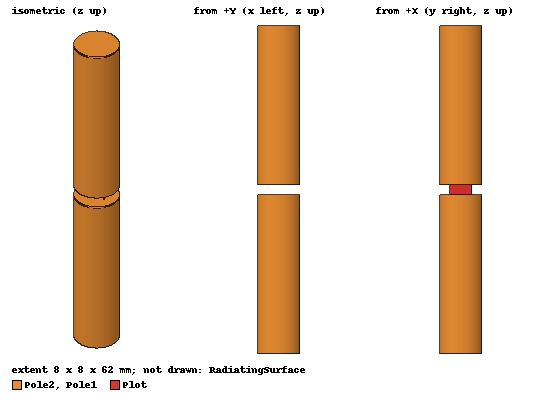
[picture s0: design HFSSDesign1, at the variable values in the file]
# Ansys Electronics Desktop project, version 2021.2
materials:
  vacuum: permittivity=1
  copper: permeability=0.999991 conductivity=58000000

design HFSSDesign1 (HFSS, DrivenModal, model units mm)
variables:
  R_antenna = 4mm
  L_antenna = 60mm
  Gap = 2mm
  R_antennaa = 6mm
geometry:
  Pole1 [copper] = cylinder(axis=Z, base_centre=(0mm, 0mm, Gap/2), radius=R_antenna, height=L_antenna/2)
  Pole2 [copper] = Pole1.duplicate_around_axis(axis=Y, angle=180deg, total=2)
  Plot = rectangle(corner=(0mm, 2mm, -1mm), y_size=-4mm, z_size=2mm)
  RadiatingSurface [vacuum] = region(absolute_offset=40mm on all sides)
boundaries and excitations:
  Open1: Radiation Objects=RadiatingSurface
  1: Lumped Port Objects=Plot Modes{Mode1{IntLine{middle of Plot.edge(z at corner) -> middle of Plot.edge(z opposite corner)} CharImp=Zpi RenormImp=50ohm}} Impedance=50ohm
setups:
  Setup1: HfssDriven MultipleAdaptiveFreqsSetup{Low=1GHz High=10GHz} MaxDeltaS=0.02 MaximumPasses=6 MinimumPasses=1 MinimumConvergedPasses=1 PercentRefinement=30 BasisOrder=1 PortAccuracy=2
    sweep Sweep: 1GHz to 10GHz, 401 points; Type=Interpolating InterpTolerance=0.5 InterpMaxSolns=250 InterpUsePortImped=false PassivityErrorTolerance=0.0001
    sweep Sweep1: 1GHz to 10GHz, 401 points; Type=Interpolating InterpTolerance=0.5 InterpMaxSolns=250 InterpUsePortImped=false PassivityErrorTolerance=0.0001
  Setup_4mm: HfssDriven Frequency=2.4GHz MaxDeltaS=0.02 MaximumPasses=6 MinimumPasses=1 MinimumConvergedPasses=1 PercentRefinement=30 BasisOrder=1 PortAccuracy=2
    sweep Sweep: 1.2GHz to 3.6GHz, 401 points; Type=Interpolating InterpTolerance=0.5 InterpMaxSolns=250 InterpUsePortImped=false PassivityErrorTolerance=0.0001
  Setup_6mm: HfssDriven Frequency=2.4GHz MaxDeltaS=0.02 MaximumPasses=6 MinimumPasses=1 MinimumConvergedPasses=1 PercentRefinement=30 BasisOrder=1 PortAccuracy=2
    sweep Sweep: 1.2GHz to 3.6GHz, 401 points; Type=Interpolating InterpTolerance=0.5 InterpMaxSolns=250 InterpUsePortImped=false PassivityErrorTolerance=0.0001
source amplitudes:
  1:1: 1W 0deg
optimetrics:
  ParametricSetup1: Parametric Sim._Setups=[Setup1, Setup_4mm, Setup_6mm]
    sweep R_antenna: LIN 2mm 8mm 2mm
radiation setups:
  3D: Infinite Sphere Theta=0deg..180deg step 2deg Phi=-180deg..180deg step 2deg
  Elevation: Infinite Sphere Theta=-180deg..180deg step 1deg Phi=0deg..90deg step 90deg
  Azimuth: Infinite Sphere Theta=90deg..90deg step 0deg Phi=-180deg..180deg step 1deg
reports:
  S Parameter Plot 4: dB(S(1,1)) vs Freq on Setup1 : Sweep1 [R_antenna=all]
  S Parameter Plot 7: dB(S(1,1)) vs Freq on Setup1 : Sweep [R_antenna=all]
  S Parameter Plot 11: dB(S(1,1)) vs Freq on Setup_6mm : Sweep
  S Parameter Plot 12: dB(S(1,1)) vs Freq on Setup1 : Sweep [R_antenna=all]
